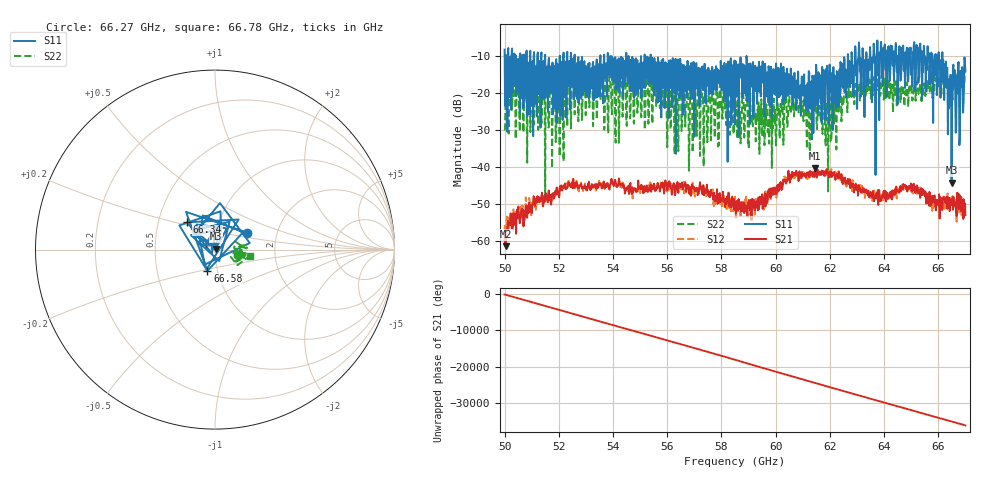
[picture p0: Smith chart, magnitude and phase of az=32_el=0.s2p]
!Created with skrf (http://scikit-rf.org).
# GHz S RI R 50.0
!freq ReS11 ImS11 ReS21 ImS21 ReS12 ImS12 ReS22 ImS22
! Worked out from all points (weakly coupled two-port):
!   1001 points, 50 GHz to 67 GHz, reference 50 ohm
!   highest |S21| = -40.32 dB at 61.46 GHz (marker M1); lowest = -61.3 dB at 50.03 GHz (marker M2)
!   lowest |S11| = -44.2 dB at 66.49 GHz (marker M3), VSWR 1.01, Z = 50.4 + j0.443 ohm
!   |S11| at or under -10 dB: 52.58 GHz to 53.54 GHz (950.6 MHz wide, 1.79 % of centre); 55.39 GHz to 62.66 GHz (7.274 GHz wide, 12.3 % of centre); 66.16 GHz to end of sweep (the widest 3 of 62)
!   |S22| runs from -49.2 to -13.2 dB; largest |S21 - S12| = 0.002
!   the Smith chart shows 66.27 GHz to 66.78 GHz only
!   S11 on the Smith chart (normalised r, x): 66.27 GHz: 1.40, +0.28; 66.34 GHz: 0.70, +0.22; 66.58 GHz: 0.89, -0.22; 66.78 GHz: 0.99, +0.04
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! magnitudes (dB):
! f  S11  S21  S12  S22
! 50 GHz  -8.3  -59.8  -57.6  -30.1
! 50.03 GHz  -11.0  -61.3  -57.9  -19.4
! 50.29 GHz  -19.8  -55.6  -56.8  -21.7
! 52.09 GHz  -11.6  -44.9  -46.1  -15.7
! 52.84 GHz  -12.3  -45.5  -45.8  -23.4
! 55.68 GHz  -13.4  -45.2  -44.9  -17.3
! 56.34 GHz  -11.7  -45.9  -46.0  -17.1
! 56.68 GHz  -19.7  -44.7  -45.1  -24.8
! 56.88 GHz  -11.9  -45.6  -45.7  -18.5
! 57.62 GHz  -15.2  -46.1  -47.4  -32.8
! 58.5 GHz  -28.6  -49.6  -48.0  -18.3
! 61.34 GHz  -32.5  -41.6  -42.2  -24.4
! 61.46 GHz  -17.0  -40.3  -41.7  -22.6
! 62 GHz  -12.6  -41.4  -41.6  -23.0
! 62.61 GHz  -16.1  -43.8  -45.3  -19.7
! 64.18 GHz  -12.2  -47.5  -47.5  -18.2
! 66.27 GHz  -13.9  -49.8  -50.8  -17.6
! 66.34 GHz  -13.3  -51.3  -47.2  -17.4
! 66.49 GHz  -44.2  -50.0  -48.7  -16.2
! 66.58 GHz  -18.0  -49.4  -50.9  -14.7
! 66.78 GHz  -34.1  -49.6  -52.2  -14.2
! 67 GHz  -14.2  -52.9  -50.3  -13.7
